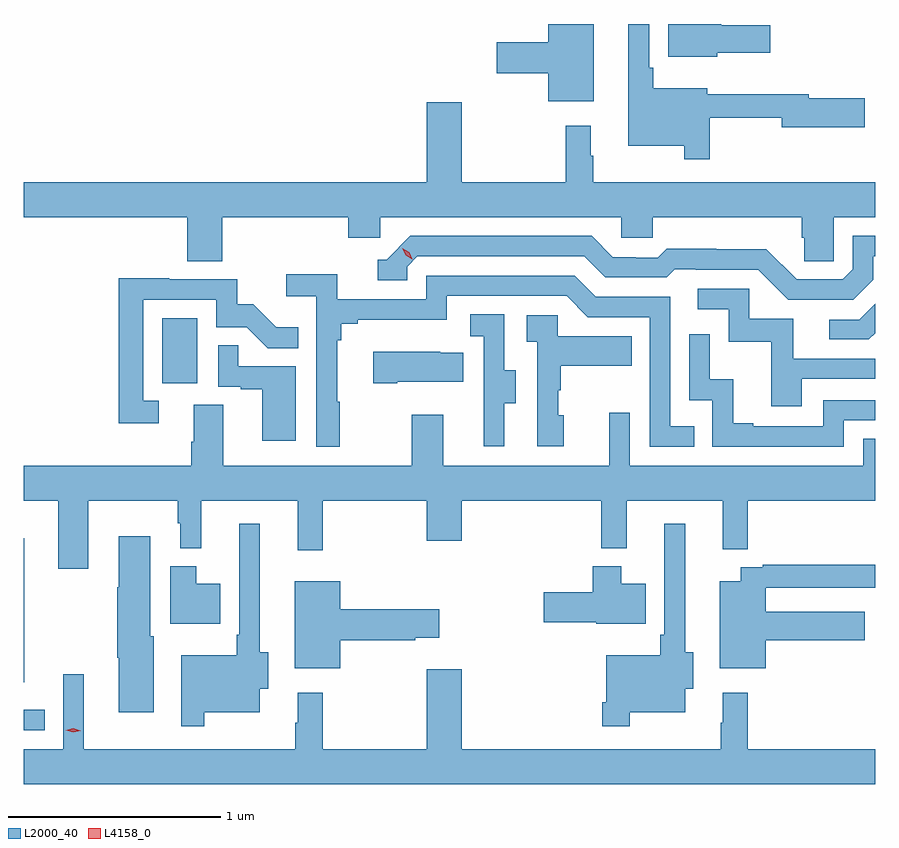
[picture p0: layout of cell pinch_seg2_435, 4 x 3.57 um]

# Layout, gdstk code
import gdstk
lib = gdstk.Library(unit=1e-6, precision=1e-09)
def R(c, l, rs):  # rectangles x0, y0, x1, y1
    for r in rs: c.add(gdstk.rectangle(r[:2], r[2:], *l))
def P(c, l, *ps):  # polygons
    for p in ps: c.add(gdstk.Polygon(p, *l))
L2000_40 = (2000, 40)
L4158_0 = (4158, 0)

pinch_seg2_435 = lib.new_cell('pinch_seg2_435')
R(pinch_seg2_435, L2000_40, [(906.371,618.585,906.47,618.681), (906.371,618.809,906.373,619.486), (907.022,620.214,907.186,620.521)])
P(pinch_seg2_435, L2000_40, [(909.595,621.462),(909.932,621.462),(909.932,621.419),(910.321,621.419),(910.321,621.554),(910.06,621.554),(910.06,621.572),(909.583,621.572),(909.583,621.601),(909.329,621.601),(909.329,621.697),(909.309,621.697),(909.309,621.903),(909.212,621.903),(909.212,621.332),(909.474,621.332),(909.474,621.267),(909.595,621.267)],
  [(909.63,621.767),(909.877,621.767),(909.877,621.897),(909.647,621.897),(909.647,621.903),(909.398,621.903),(909.398,621.749),(909.63,621.749)],
  [(909.049,621.903),(908.834,621.903),(908.834,621.818),(908.592,621.818),(908.592,621.671),(908.834,621.671),(908.834,621.539),(909.049,621.539)],
  [(907.304,620.996),(907.895,620.996),(907.895,620.898),(908.046,620.898),(908.046,620.996),(909.177,620.996),(909.177,620.898),(909.327,620.898),(909.327,620.996),(910.025,620.996),(910.025,620.898),(910.039,620.898),(910.039,620.788),(910.176,620.788),(910.176,620.996),(910.371,620.996),(910.371,621.16),(909.046,621.16),(909.046,621.284),(909.034,621.284),(909.034,621.424),(908.917,621.424),(908.917,621.16),(908.428,621.16),(908.428,621.535),(908.264,621.535),(908.264,621.16),(906.371,621.16),(906.371,620.996),(907.139,620.996),(907.139,620.788),(907.304,620.788)],
  [(910.363,620.701),(910.363,620.811),(910.371,620.811),(910.371,620.907),(910.266,620.907),(910.266,620.751),(910.218,620.703),(910.002,620.703),(909.86,620.845),(909.624,620.845),(909.624,620.848),(909.391,620.848),(909.349,620.805),(909.246,620.805),(909.246,620.808),(909.139,620.808),(909.04,620.907),(908.187,620.907),(908.076,620.796),(908.033,620.796),(908.033,620.7),(908.172,620.7),(908.172,620.763),(908.22,620.811),(909.003,620.811),(909.102,620.712),(909.391,620.712),(909.43,620.751),(909.529,620.751),(909.529,620.748),(909.822,620.748),(909.963,620.607),(910.269,620.607)],
  [(907.855,620.129),(907.843,620.129),(907.843,620.417),(907.862,620.417),(907.862,620.494),(907.939,620.494),(907.939,620.513),(908.358,620.513),(908.358,620.625),(908.922,620.625),(909.021,620.526),(909.312,620.526),(909.312,619.917),(909.521,619.917),(909.521,620.013),(909.408,620.013),(909.408,620.622),(909.058,620.622),(908.959,620.721),(908.262,620.721),(908.262,620.61),(907.844,620.61),(907.844,620.726),(907.605,620.726),(907.605,620.624),(907.746,620.624),(907.746,619.917),(907.855,619.917)],
  [(907.006,620.133),(906.933,620.133),(906.933,620.607),(907.275,620.607),(907.275,620.478),(907.419,620.478),(907.517,620.38),(907.661,620.38),(907.661,620.479),(907.557,620.479),(907.45,620.586),(907.374,620.586),(907.374,620.703),(907.055,620.703),(907.055,620.708),(906.817,620.708),(906.817,620.028),(907.006,620.028)],
  [(910.027,620.235),(910.371,620.235),(910.371,620.331),(909.985,620.331),(909.985,620.517),(909.78,620.517),(909.78,620.658),(909.537,620.658),(909.537,620.562),(909.684,620.562),(909.684,620.409),(909.883,620.409),(909.883,620.106),(910.027,620.106)],
  [(910.371,620.45),(910.371,620.589),(910.296,620.514),(910.155,620.514),(910.155,620.421),(910.342,620.421)],
  [(908.629,620.122),(908.683,620.122),(908.683,620.277),(908.628,620.277),(908.628,620.54),(908.469,620.54),(908.469,620.437),(908.532,620.437),(908.532,620.133),(908.531,620.133),(908.531,619.92),(908.629,619.92)],
  [(908.908,620.064),(908.883,620.064),(908.883,620.183),(908.893,620.183),(908.893,620.297),(909.227,620.297),(909.227,620.437),(908.88,620.437),(908.88,620.535),(908.733,620.535),(908.733,620.411),(908.784,620.411),(908.784,619.92),(908.908,619.92)],
  [(910.224,620.04),(910.371,620.04),(910.371,620.136),(910.128,620.136),(910.128,620.013),(909.799,620.013),(909.799,620.026),(909.704,620.026),(909.704,620.234),(909.594,620.234),(909.594,620.446),(909.498,620.446),(909.498,620.136),(909.606,620.136),(909.606,619.917),(910.224,619.917)],
  [(907.648,620.295),(907.379,620.295),(907.379,620.393),(907.284,620.393),(907.284,620.199),(907.391,620.199),(907.391,620.187),(907.49,620.187),(907.49,619.944),(907.648,619.944)],
  [(908.125,620.222),(908.435,620.222),(908.435,620.359),(908.327,620.359),(908.327,620.362),(908.013,620.362),(908.013,620.215),(908.125,620.215)],
  [(906.673,619.664),(907.095,619.664),(907.095,619.557),(907.106,619.557),(907.106,619.439),(907.205,619.439),(907.205,619.664),(907.658,619.664),(907.658,619.431),(907.775,619.431),(907.775,619.664),(908.264,619.664),(908.264,619.476),(908.428,619.476),(908.428,619.664),(909.085,619.664),(909.085,619.439),(909.203,619.439),(909.203,619.664),(909.656,619.664),(909.656,619.435),(909.773,619.435),(909.773,619.664),(910.371,619.664),(910.371,619.955),(910.314,619.955),(910.314,619.828),(909.219,619.828),(909.219,620.077),(909.122,620.077),(909.122,619.828),(908.341,619.828),(908.341,620.068),(908.194,620.068),(908.194,619.828),(907.309,619.828),(907.309,620.114),(907.169,620.114),(907.169,619.94),(907.157,619.94),(907.157,619.828),(906.371,619.828),(906.371,619.664),(906.533,619.664),(906.533,619.344),(906.673,619.344)],
  [(909.217,618.668),(909.478,618.668),(909.478,618.779),(909.517,618.779),(909.517,618.95),(909.478,618.95),(909.478,619.555),(909.381,619.555),(909.381,619.033),(909.361,619.033),(909.361,618.937),(909.108,618.937),(909.108,618.715),(909.088,618.715),(909.088,618.603),(909.217,618.603)],
  [(907.219,618.668),(907.48,618.668),(907.48,618.779),(907.519,618.779),(907.519,618.95),(907.48,618.95),(907.48,619.555),(907.383,619.555),(907.383,619.033),(907.371,619.033),(907.371,618.937),(907.11,618.937),(907.11,618.603),(907.219,618.603)],
  [(906.982,619.026),(906.964,619.026),(906.964,619.495),(906.818,619.495),(906.818,619.256),(906.811,619.256),(906.811,618.926),(906.818,618.926),(906.818,618.668),(906.982,618.668)],
  [(909.856,619.007),(910.321,619.007),(910.321,619.141),(909.856,619.141),(909.856,619.254),(910.371,619.254),(910.371,619.363),(909.844,619.363),(909.844,619.35),(909.74,619.35),(909.74,619.285),(909.641,619.285),(909.641,618.875),(909.856,618.875)],
  [(907.294,619.273),(907.18,619.273),(907.18,619.354),(907.058,619.354),(907.058,619.085),(907.294,619.085)],
  [(909.292,619.273),(909.178,619.273),(909.178,619.354),(909.044,619.354),(909.044,619.233),(908.814,619.233),(908.814,619.091),(909.06,619.091),(909.06,619.085),(909.292,619.085)],
  [(907.858,619.007),(908.21,619.007),(908.21,619.019),(908.323,619.019),(908.323,619.154),(907.858,619.154),(907.858,619.285),(907.643,619.285),(907.643,618.875),(907.858,618.875)],
  [(910.371,618.496),(909.773,618.496),(909.773,618.76),(909.656,618.76),(909.656,618.62),(909.645,618.62),(909.645,618.496),(908.428,618.496),(908.428,618.871),(908.264,618.871),(908.264,618.496),(907.775,618.496),(907.775,618.76),(907.658,618.76),(907.658,618.62),(907.647,618.62),(907.647,618.496),(906.652,618.496),(906.652,618.847),(906.555,618.847),(906.555,618.496),(906.371,618.496),(906.371,618.332),(910.371,618.332)])
P(pinch_seg2_435, L4158_0, [(906.604,618.574),(906.569,618.585),(906.569,618.585),(906.569,618.585),(906.604,618.594),(906.639,618.582),(906.639,618.582),(906.639,618.582)],
  [(908.197,620.798),(908.166,620.817),(908.15,620.85),(908.15,620.85),(908.15,620.85),(908.181,620.831),(908.197,620.798),(908.197,620.798)])

lib.write_gds('pinch_seg2_435.gds')
